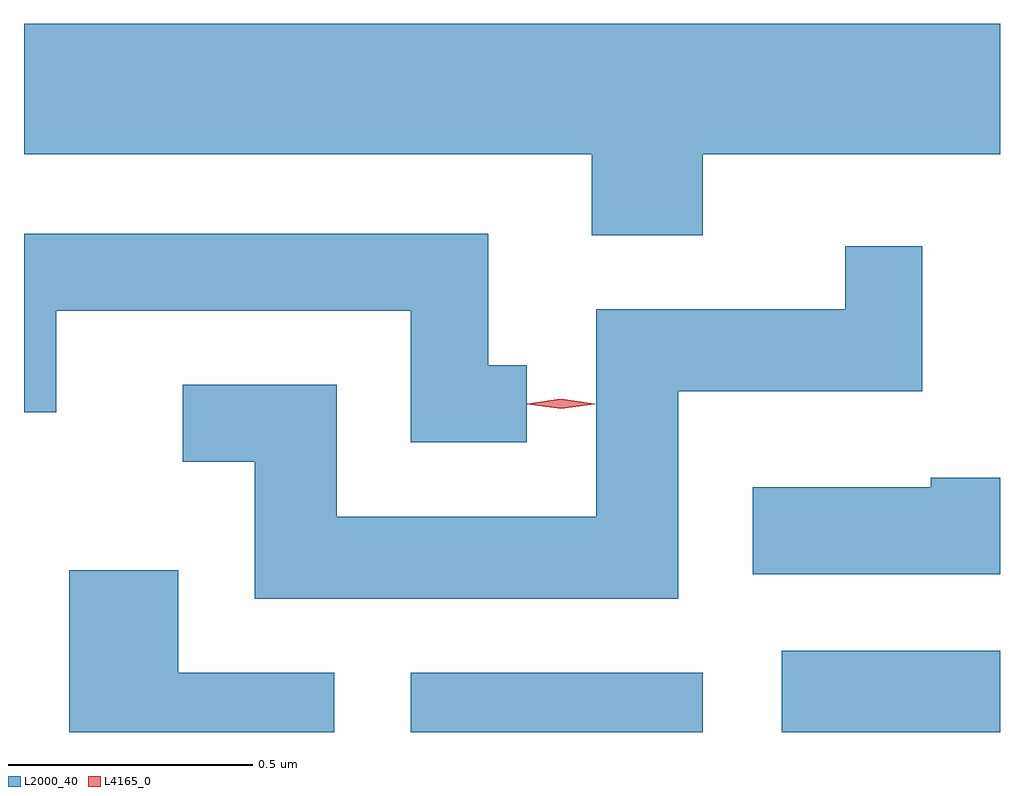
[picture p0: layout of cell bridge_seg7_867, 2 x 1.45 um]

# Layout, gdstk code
import gdstk
lib = gdstk.Library(unit=1e-6, precision=1e-09)
def R(c, l, rs):  # rectangles x0, y0, x1, y1
    for r in rs: c.add(gdstk.rectangle(r[:2], r[2:], *l))
def P(c, l, *ps):  # polygons
    for p in ps: c.add(gdstk.Polygon(p, *l))
L2000_40 = (2000, 40)
L4165_0 = (4165, 0)

bridge_seg7_867 = lib.new_cell('bridge_seg7_867')
R(bridge_seg7_867, L2000_40, [(407.341,1757.532,407.939,1757.654), (408.101,1757.532,408.548,1757.699)])
P(bridge_seg7_867, L2000_40, [(407.939,1758.716),(408.548,1758.716),(408.548,1758.984),(406.548,1758.984),(406.548,1758.716),(407.711,1758.716),(407.711,1758.551),(407.939,1758.551)],
  [(407.578,1758.284),(407.499,1758.284),(407.499,1758.554),(406.548,1758.554),(406.548,1758.188),(406.614,1758.188),(406.614,1758.396),(407.341,1758.396),(407.341,1758.126),(407.578,1758.126)],
  [(407.889,1758.231),(408.389,1758.231),(408.389,1758.528),(408.231,1758.528),(408.231,1758.399),(407.721,1758.399),(407.721,1757.974),(407.189,1757.974),(407.189,1758.244),(406.873,1758.244),(406.873,1758.086),(407.021,1758.086),(407.021,1757.806),(407.889,1757.806)],
  [(408.548,1758.054),(408.406,1758.054),(408.406,1758.034),(408.041,1758.034),(408.041,1757.856),(408.548,1757.856)],
  [(407.184,1757.654),(406.864,1757.654),(406.864,1757.864),(406.641,1757.864),(406.641,1757.532),(407.184,1757.532)])
P(bridge_seg7_867, L4165_0, [(407.648,1758.195),(407.579,1758.204),(407.579,1758.205),(407.579,1758.205),(407.648,1758.215),(407.718,1758.205),(407.718,1758.204),(407.718,1758.204)])

lib.write_gds('bridge_seg7_867.gds')
